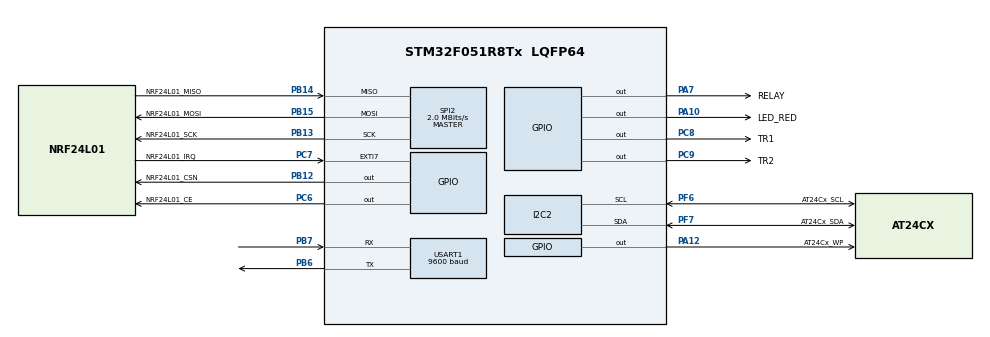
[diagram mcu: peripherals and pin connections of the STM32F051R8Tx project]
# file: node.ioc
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IWDG.Prescaler=IWDG_PRESCALER_128
IWDG.Reload=2500
Mcu.Family=STM32F0
Mcu.Name=STM32F051R8Tx
Mcu.Package=LQFP64
Mcu.UserConstants=prescalerValue,7999
NVIC.TIM3_IRQn=true\:0\:0\:false\:false\:true\:true\:true
PA10.GPIO_Label=LED_RED
PA10.GPIO_ModeDefaultOutputPP=GPIO_MODE_OUTPUT_PP
PA10.GPIO_PuPd=GPIO_NOPULL
PA10.GPIO_Speed=GPIO_SPEED_FREQ_LOW
PA10.PinState=GPIO_PIN_RESET
PA10.Signal=GPIO_Output
PA10.Stacked=true
PA12.GPIO_Label=AT24Cx_WP
PA12.PinState=GPIO_PIN_SET
PA12.Signal=GPIO_Output
PA12.Stacked=true
PA13.Mode=Serial_Wire
PA13.Signal=SYS_SWDIO
PA13.Stacked=true
PA14.Mode=Serial_Wire
PA14.Signal=SYS_SWCLK
PA14.Stacked=true
PA7.GPIO_Label=RELAY
PA7.GPIO_PuPd=GPIO_NOPULL
PA7.GPIO_Speed=GPIO_SPEED_FREQ_LOW
PA7.PinState=GPIO_PIN_RESET
PA7.Signal=GPIO_Output
PA7.Stacked=true
PB12.GPIO_Label=NRF24L01_CSN
PB12.GPIO_ModeDefaultOutputPP=GPIO_MODE_OUTPUT_PP
PB12.GPIO_PuPd=GPIO_NOPULL
PB12.PinState=GPIO_PIN_SET
PB12.Signal=GPIO_Output
PB12.Stacked=true
PB13.GPIO_Label=NRF24L01_SCK
PB13.Mode=Full_Duplex_Master
PB13.Signal=SPI2_SCK
PB13.Stacked=true
PB14.GPIO_Label=NRF24L01_MISO
PB14.Mode=Full_Duplex_Master
PB14.Signal=SPI2_MISO
PB15.GPIO_Label=NRF24L01_MOSI
PB15.Mode=Full_Duplex_Master
PB15.Signal=SPI2_MOSI
PB15.Stacked=true
PB6.Mode=Asynchronous
PB6.Signal=USART1_TX
PB6.Stacked=true
PB7.Mode=Asynchronous
PB7.Signal=USART1_RX
PB7.Stacked=true
PC6.GPIO_Label=NRF24L01_CE
PC6.Signal=GPIO_Output
PC6.Stacked=true
PC7.GPIO_Label=NRF24L01_IRQ
PC7.Signal=GPXTI7
PC7.Stacked=true
PC8.GPIO_Label=TR1
PC8.Signal=GPIO_Output
PC8.Stacked=true
PC9.GPIO_Label=TR2
PC9.Signal=GPIO_Output
PC9.Stacked=true
PF6.GPIO_Label=AT24Cx_SCL
PF6.Mode=I2C
PF6.Signal=I2C2_SCL
PF6.Stacked=true
PF7.GPIO_Label=AT24Cx_SDA
PF7.Mode=I2C
PF7.Signal=I2C2_SDA
PF7.Stacked=true
ProjectManager.HeapSize=0x200
ProjectManager.StackSize=0x400
ProjectManager.TargetToolchain=STM32CubeIDE
SPI2.BaudRatePrescaler=SPI_BAUDRATEPRESCALER_4
SPI2.CalculateBaudRate=2.0 MBits/s
SPI2.DataSize=SPI_DATASIZE_8BIT
SPI2.Direction=SPI_DIRECTION_2LINES
SPI2.Mode=SPI_MODE_MASTER
SPI2.VirtualType=VM_MASTER
TIM3.CounterMode=TIM_COUNTERMODE_UP
TIM3.Period=1000-1
TIM3.Prescaler=(SystemCoreClock)/100000-1
USART1.BaudRate=9600
USART1.VirtualMode-Asynchronous=VM_ASYNC
VP_IWDG_VS_IWDG.Mode=IWDG_Activate
VP_TIM3_VS_ClockSourceINT.Mode=Internal
board=custom

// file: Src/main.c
/* USER CODE BEGIN Header */
/**
  ******************************************************************************
  * @file           : main.c
  * @brief          : Main program body
  ******************************************************************************
  * @attention
  *
  * <h2><center>&copy; Copyright (c) 2019 STMicroelectronics.
  * All rights reserved.</center></h2>
  *
  * This software component is licensed by ST under BSD 3-Clause license,
  * the "License"; You may not use this file except in compliance with the
  * License. You may obtain a copy of the License at:
  *                        opensource.org/licenses/BSD-3-Clause
  *
  ******************************************************************************
  */
/* USER CODE END Header */

#include "main.h"

/* USER CODE BEGIN Includes */
#include "App/app.h"
#include "Utils/utils.h"
#include <stdio.h>
/* USER CODE END Includes */

I2C_HandleTypeDef hi2c2;

IWDG_HandleTypeDef hiwdg;

SPI_HandleTypeDef hspi2;

TIM_HandleTypeDef htim3;

UART_HandleTypeDef huart1;

/* USER CODE BEGIN PV */
#ifdef __GNUC__
/* With GCC, small printf (option LD Linker->Libraries->Small printf
   set to 'Yes') calls __io_putchar() */
#define PUTCHAR_PROTOTYPE int __io_putchar(int ch)
#else
#define PUTCHAR_PROTOTYPE int fputc(int ch, FILE *f)
#endif /* __GNUC__ */
// Retargets the C library printf function to the UART.
PUTCHAR_PROTOTYPE
{
  /* Place your implementation of fputc here */
  /* e.g. write a character to the USART2 and Loop until the end of transmission */
  HAL_UART_Transmit(&huart1, (uint8_t *)&ch, 1, 0xFFFF);

  return ch;
}
/* USER CODE END PV */

void SystemClock_Config(void);
static void MX_GPIO_Init(void);
static void MX_I2C2_Init(void);
static void MX_USART1_UART_Init(void);
static void MX_SPI2_Init(void);
static void MX_TIM3_Init(void);
static void MX_IWDG_Init(void);

int main(void)
{

  /* MCU Configuration--------------------------------------------------------*/

  /* Reset of all peripherals, Initializes the Flash interface and the Systick. */
  HAL_Init();

  /* Configure the system clock */
  SystemClock_Config();

  /* USER CODE BEGIN SysInit */
  /**
   * @brief IWDG computation
   * 		Based on: https://controllerstech.com/iwdg-and-wwdg-in-stm32/
   *
   * 	t_iwdg = t_lsi x 4 x 2^PR x (RL+1)
   * 	where: t_lsi = 1 / 32000 (31.25us)
   *
   * 	I need: t_iwdg = 10[s] = 10000[ms]
   * 	Prescaler = 128 so PR = 5
   *	RL = ((t_iwdg x 32000) / ((4 x 2^PR) x 1000)) - 1
   *	RL = ((10000 x 32000) / ((4 x 2^5) x 1000)) - 1
   *	RL = 2500
   *	IWDG down-counter reload value = 2500
   *
   */
  /* USER CODE END SysInit */

  /* Initialize all configured peripherals */
  MX_GPIO_Init();
  MX_I2C2_Init();
  MX_USART1_UART_Init();
  MX_SPI2_Init();
  MX_TIM3_Init();
  MX_IWDG_Init();
  /* USER CODE BEGIN 2 */
  printf("\r\n\r\n\r\n>>> Hello from Garage Door Keypad NODE <<< by luk6xff-2021\r\n");
  printf(">>> Build TIME:%s, DATE:%s\r\n", __TIME__, __DATE__);
  // Scan for I2C devices
  //i2c_scanner();
  // App initialization
  app_init();
  /* USER CODE END 2 */

  /* Infinite loop */
  /* USER CODE BEGIN WHILE */

  while (1)
  {

	app_run();
    /* USER CODE END WHILE */

  }
}

void SystemClock_Config(void)
{
  RCC_OscInitTypeDef RCC_OscInitStruct = {0};
  RCC_ClkInitTypeDef RCC_ClkInitStruct = {0};
  RCC_PeriphCLKInitTypeDef PeriphClkInit = {0};

  /** Initializes the CPU, AHB and APB busses clocks
  */
  RCC_OscInitStruct.OscillatorType = RCC_OSCILLATORTYPE_HSI|RCC_OSCILLATORTYPE_LSI;
  RCC_OscInitStruct.HSIState = RCC_HSI_ON;
  RCC_OscInitStruct.HSICalibrationValue = RCC_HSICALIBRATION_DEFAULT;
  RCC_OscInitStruct.LSIState = RCC_LSI_ON;
  RCC_OscInitStruct.PLL.PLLState = RCC_PLL_NONE;
  if (HAL_RCC_OscConfig(&RCC_OscInitStruct) != HAL_OK)
  {
    Error_Handler();
  }
  /** Initializes the CPU, AHB and APB busses clocks
  */
  RCC_ClkInitStruct.ClockType = RCC_CLOCKTYPE_HCLK|RCC_CLOCKTYPE_SYSCLK
                              |RCC_CLOCKTYPE_PCLK1;
  RCC_ClkInitStruct.SYSCLKSource = RCC_SYSCLKSOURCE_HSI;
  RCC_ClkInitStruct.AHBCLKDivider = RCC_SYSCLK_DIV1;
  RCC_ClkInitStruct.APB1CLKDivider = RCC_HCLK_DIV1;

  if (HAL_RCC_ClockConfig(&RCC_ClkInitStruct, FLASH_LATENCY_0) != HAL_OK)
  {
    Error_Handler();
  }
  PeriphClkInit.PeriphClockSelection = RCC_PERIPHCLK_USART1;
  PeriphClkInit.Usart1ClockSelection = RCC_USART1CLKSOURCE_PCLK1;
  if (HAL_RCCEx_PeriphCLKConfig(&PeriphClkInit) != HAL_OK)
  {
    Error_Handler();
  }
}

static void MX_I2C2_Init(void)
{

  hi2c2.Instance = I2C2;
  hi2c2.Init.Timing = 0x2000090E;
  hi2c2.Init.OwnAddress1 = 0;
  hi2c2.Init.AddressingMode = I2C_ADDRESSINGMODE_7BIT;
  hi2c2.Init.DualAddressMode = I2C_DUALADDRESS_DISABLE;
  hi2c2.Init.OwnAddress2 = 0;
  hi2c2.Init.OwnAddress2Masks = I2C_OA2_NOMASK;
  hi2c2.Init.GeneralCallMode = I2C_GENERALCALL_DISABLE;
  hi2c2.Init.NoStretchMode = I2C_NOSTRETCH_DISABLE;
  if (HAL_I2C_Init(&hi2c2) != HAL_OK)
  {
    Error_Handler();
  }
  /** Configure Analogue filter
  */
  if (HAL_I2CEx_ConfigAnalogFilter(&hi2c2, I2C_ANALOGFILTER_ENABLE) != HAL_OK)
  {
    Error_Handler();
  }
  /** Configure Digital filter
  */
  if (HAL_I2CEx_ConfigDigitalFilter(&hi2c2, 0) != HAL_OK)
  {
    Error_Handler();
  }

}

static void MX_IWDG_Init(void)
{

  hiwdg.Instance = IWDG;
  hiwdg.Init.Prescaler = IWDG_PRESCALER_128;
  hiwdg.Init.Window = 4095;
  hiwdg.Init.Reload = 2500;
  if (HAL_IWDG_Init(&hiwdg) != HAL_OK)
  {
    Error_Handler();
  }

}

static void MX_SPI2_Init(void)
{

  /* SPI2 parameter configuration*/
  hspi2.Instance = SPI2;
  hspi2.Init.Mode = SPI_MODE_MASTER;
  hspi2.Init.Direction = SPI_DIRECTION_2LINES;
  hspi2.Init.DataSize = SPI_DATASIZE_8BIT;
  hspi2.Init.CLKPolarity = SPI_POLARITY_LOW;
  hspi2.Init.CLKPhase = SPI_PHASE_1EDGE;
  hspi2.Init.NSS = SPI_NSS_SOFT;
  hspi2.Init.BaudRatePrescaler = SPI_BAUDRATEPRESCALER_4;
  hspi2.Init.FirstBit = SPI_FIRSTBIT_MSB;
  hspi2.Init.TIMode = SPI_TIMODE_DISABLE;
  hspi2.Init.CRCCalculation = SPI_CRCCALCULATION_DISABLE;
  hspi2.Init.CRCPolynomial = 7;
  hspi2.Init.CRCLength = SPI_CRC_LENGTH_DATASIZE;
  hspi2.Init.NSSPMode = SPI_NSS_PULSE_ENABLE;
  if (HAL_SPI_Init(&hspi2) != HAL_OK)
  {
    Error_Handler();
  }

}

static void MX_TIM3_Init(void)
{

  TIM_ClockConfigTypeDef sClockSourceConfig = {0};
  TIM_MasterConfigTypeDef sMasterConfig = {0};

  /* USER CODE BEGIN TIM3_Init 1 */
  // Timer with cyclic interrupt of period 10[ms]
  /* USER CODE END TIM3_Init 1 */
  htim3.Instance = TIM3;
  htim3.Init.Prescaler = (SystemCoreClock)/100000-1;
  htim3.Init.CounterMode = TIM_COUNTERMODE_UP;
  htim3.Init.Period = 1000-1;
  htim3.Init.ClockDivision = TIM_CLOCKDIVISION_DIV1;
  htim3.Init.AutoReloadPreload = TIM_AUTORELOAD_PRELOAD_DISABLE;
  if (HAL_TIM_Base_Init(&htim3) != HAL_OK)
  {
    Error_Handler();
  }
  sClockSourceConfig.ClockSource = TIM_CLOCKSOURCE_INTERNAL;
  if (HAL_TIM_ConfigClockSource(&htim3, &sClockSourceConfig) != HAL_OK)
  {
    Error_Handler();
  }
  sMasterConfig.MasterOutputTrigger = TIM_TRGO_RESET;
  sMasterConfig.MasterSlaveMode = TIM_MASTERSLAVEMODE_DISABLE;
  if (HAL_TIMEx_MasterConfigSynchronization(&htim3, &sMasterConfig) != HAL_OK)
  {
    Error_Handler();
  }
  /* USER CODE BEGIN TIM3_Init 2 */
  HAL_TIM_Base_Start_IT(&htim3);
  /* USER CODE END TIM3_Init 2 */

}

static void MX_USART1_UART_Init(void)
{

  huart1.Instance = USART1;
  huart1.Init.BaudRate = 9600;
  huart1.Init.WordLength = UART_WORDLENGTH_8B;
  huart1.Init.StopBits = UART_STOPBITS_1;
  huart1.Init.Parity = UART_PARITY_NONE;
  huart1.Init.Mode = UART_MODE_TX_RX;
  huart1.Init.HwFlowCtl = UART_HWCONTROL_NONE;
  huart1.Init.OverSampling = UART_OVERSAMPLING_16;
  huart1.Init.OneBitSampling = UART_ONE_BIT_SAMPLE_DISABLE;
  huart1.AdvancedInit.AdvFeatureInit = UART_ADVFEATURE_NO_INIT;
  if (HAL_UART_Init(&huart1) != HAL_OK)
  {
    Error_Handler();
  }

}

static void MX_GPIO_Init(void)
{
  GPIO_InitTypeDef GPIO_InitStruct = {0};

  /* GPIO Ports Clock Enable */
  __HAL_RCC_GPIOC_CLK_ENABLE();
  __HAL_RCC_GPIOF_CLK_ENABLE();
  __HAL_RCC_GPIOA_CLK_ENABLE();
  __HAL_RCC_GPIOB_CLK_ENABLE();
  __HAL_RCC_GPIOD_CLK_ENABLE();

  /*Configure GPIO pin Output Level */
  HAL_GPIO_WritePin(GPIOA, RELAY_Pin|LED_RED_Pin, GPIO_PIN_RESET);

  /*Configure GPIO pin Output Level */
  HAL_GPIO_WritePin(NRF24L01_CSN_GPIO_Port, NRF24L01_CSN_Pin, GPIO_PIN_SET);

  /*Configure GPIO pin Output Level */
  HAL_GPIO_WritePin(GPIOC, NRF24L01_CE_Pin|TR1_Pin|TR2_Pin, GPIO_PIN_RESET);

  /*Configure GPIO pin Output Level */
  HAL_GPIO_WritePin(AT24Cx_WP_GPIO_Port, AT24Cx_WP_Pin, GPIO_PIN_SET);

  /*Configure GPIO pins : PC13 PC14 PC15 PC0
                           PC1 PC2 PC3 PC4
                           PC5 PC10 PC11 PC12 */
  GPIO_InitStruct.Pin = GPIO_PIN_13|GPIO_PIN_14|GPIO_PIN_15|GPIO_PIN_0
                          |GPIO_PIN_1|GPIO_PIN_2|GPIO_PIN_3|GPIO_PIN_4
                          |GPIO_PIN_5|GPIO_PIN_10|GPIO_PIN_11|GPIO_PIN_12;
  GPIO_InitStruct.Mode = GPIO_MODE_ANALOG;
  GPIO_InitStruct.Pull = GPIO_NOPULL;
  HAL_GPIO_Init(GPIOC, &GPIO_InitStruct);

  /*Configure GPIO pins : PF0 PF1 PF4 PF5 */
  GPIO_InitStruct.Pin = GPIO_PIN_0|GPIO_PIN_1|GPIO_PIN_4|GPIO_PIN_5;
  GPIO_InitStruct.Mode = GPIO_MODE_ANALOG;
  GPIO_InitStruct.Pull = GPIO_NOPULL;
  HAL_GPIO_Init(GPIOF, &GPIO_InitStruct);

  /*Configure GPIO pins : PA0 PA1 PA2 PA3
                           PA4 PA5 PA6 PA8
                           PA9 PA11 PA15 */
  GPIO_InitStruct.Pin = GPIO_PIN_0|GPIO_PIN_1|GPIO_PIN_2|GPIO_PIN_3
                          |GPIO_PIN_4|GPIO_PIN_5|GPIO_PIN_6|GPIO_PIN_8
                          |GPIO_PIN_9|GPIO_PIN_11|GPIO_PIN_15;
  GPIO_InitStruct.Mode = GPIO_MODE_ANALOG;
  GPIO_InitStruct.Pull = GPIO_NOPULL;
  HAL_GPIO_Init(GPIOA, &GPIO_InitStruct);

  /*Configure GPIO pins : RELAY_Pin LED_RED_Pin AT24Cx_WP_Pin */
  GPIO_InitStruct.Pin = RELAY_Pin|LED_RED_Pin|AT24Cx_WP_Pin;
  GPIO_InitStruct.Mode = GPIO_MODE_OUTPUT_PP;
  GPIO_InitStruct.Pull = GPIO_NOPULL;
  GPIO_InitStruct.Speed = GPIO_SPEED_FREQ_LOW;
  HAL_GPIO_Init(GPIOA, &GPIO_InitStruct);

  /*Configure GPIO pins : PB0 PB1 PB2 PB10
                           PB11 PB3 PB4 PB5
                           PB8 PB9 */
  GPIO_InitStruct.Pin = GPIO_PIN_0|GPIO_PIN_1|GPIO_PIN_2|GPIO_PIN_10
                          |GPIO_PIN_11|GPIO_PIN_3|GPIO_PIN_4|GPIO_PIN_5
                          |GPIO_PIN_8|GPIO_PIN_9;
  GPIO_InitStruct.Mode = GPIO_MODE_ANALOG;
  GPIO_InitStruct.Pull = GPIO_NOPULL;
  HAL_GPIO_Init(GPIOB, &GPIO_InitStruct);

  /*Configure GPIO pin : NRF24L01_CSN_Pin */
  GPIO_InitStruct.Pin = NRF24L01_CSN_Pin;
  GPIO_InitStruct.Mode = GPIO_MODE_OUTPUT_PP;
  GPIO_InitStruct.Pull = GPIO_NOPULL;
  GPIO_InitStruct.Speed = GPIO_SPEED_FREQ_LOW;
  HAL_GPIO_Init(NRF24L01_CSN_GPIO_Port, &GPIO_InitStruct);

  /*Configure GPIO pins : NRF24L01_CE_Pin TR1_Pin TR2_Pin */
  GPIO_InitStruct.Pin = NRF24L01_CE_Pin|TR1_Pin|TR2_Pin;
  GPIO_InitStruct.Mode = GPIO_MODE_OUTPUT_PP;
  GPIO_InitStruct.Pull = GPIO_NOPULL;
  GPIO_InitStruct.Speed = GPIO_SPEED_FREQ_LOW;
  HAL_GPIO_Init(GPIOC, &GPIO_InitStruct);

  /*Configure GPIO pin : NRF24L01_IRQ_Pin */
  GPIO_InitStruct.Pin = NRF24L01_IRQ_Pin;
  GPIO_InitStruct.Mode = GPIO_MODE_IT_RISING;
  GPIO_InitStruct.Pull = GPIO_NOPULL;
  HAL_GPIO_Init(NRF24L01_IRQ_GPIO_Port, &GPIO_InitStruct);

  /*Configure GPIO pin : PD2 */
  GPIO_InitStruct.Pin = GPIO_PIN_2;
  GPIO_InitStruct.Mode = GPIO_MODE_ANALOG;
  GPIO_InitStruct.Pull = GPIO_NOPULL;
  HAL_GPIO_Init(GPIOD, &GPIO_InitStruct);

}

void Error_Handler(void)
{
}

/************************ (C) COPYRIGHT STMicroelectronics *****END OF FILE****/
